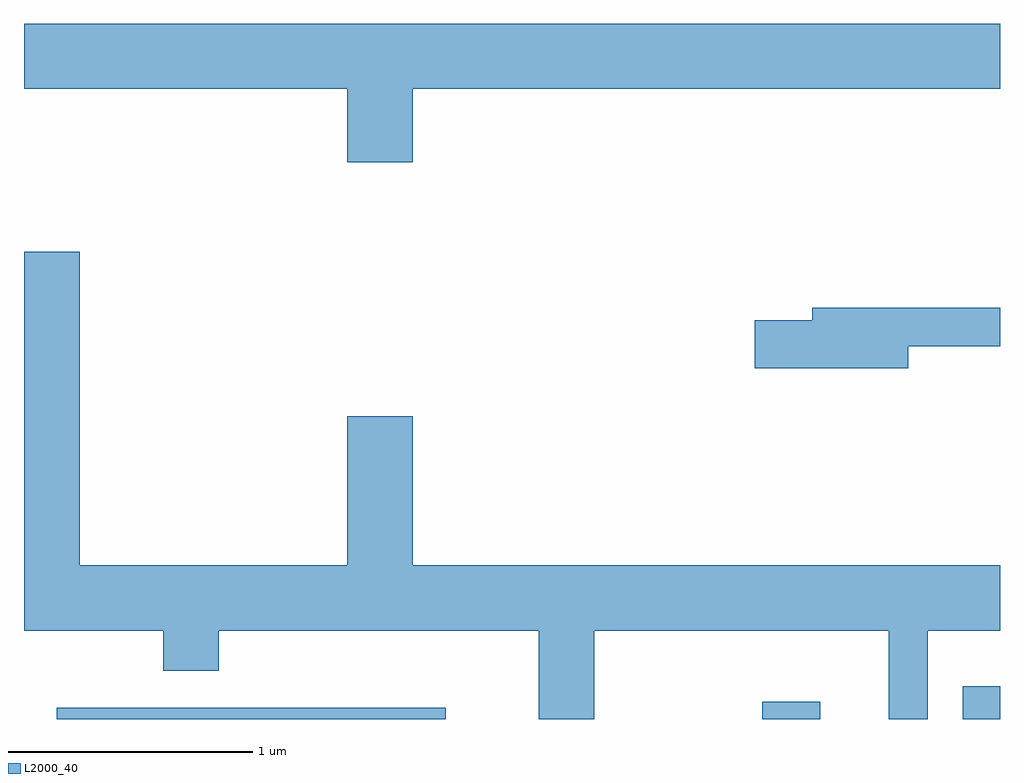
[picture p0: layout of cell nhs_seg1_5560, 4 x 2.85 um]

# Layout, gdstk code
import gdstk
lib = gdstk.Library(unit=1e-6, precision=1e-09)
def R(c, l, rs):  # rectangles x0, y0, x1, y1
    for r in rs: c.add(gdstk.rectangle(r[:2], r[2:], *l))
def P(c, l, *ps):  # polygons
    for p in ps: c.add(gdstk.Polygon(p, *l))
L2000_40 = (2000, 40)

nhs_seg1_5560 = lib.new_cell('nhs_seg1_5560')
R(nhs_seg1_5560, L2000_40, [(353.746,843.712,355.339,843.759), (356.636,843.712,356.874,843.784), (357.458,843.712,357.611,843.849)])
P(nhs_seg1_5560, L2000_40, [(355.204,846.296),(357.611,846.296),(357.611,846.564),(353.611,846.564),(353.611,846.296),(354.936,846.296),(354.936,845.996),(355.204,845.996)],
  [(355.949,844.076),(357.156,844.076),(357.156,843.712),(357.314,843.712),(357.314,844.076),(357.611,844.076),(357.611,844.344),(355.204,844.344),(355.204,844.954),(354.936,844.954),(354.936,844.344),(353.839,844.344),(353.839,845.629),(353.611,845.629),(353.611,844.076),(354.181,844.076),(354.181,843.911),(354.409,843.911),(354.409,844.076),(355.721,844.076),(355.721,843.712),(355.949,843.712)],
  [(357.234,845.241),(357.611,845.241),(357.611,845.399),(356.841,845.399),(356.841,845.349),(356.606,845.349),(356.606,845.151),(357.234,845.151)])

lib.write_gds('nhs_seg1_5560.gds')
